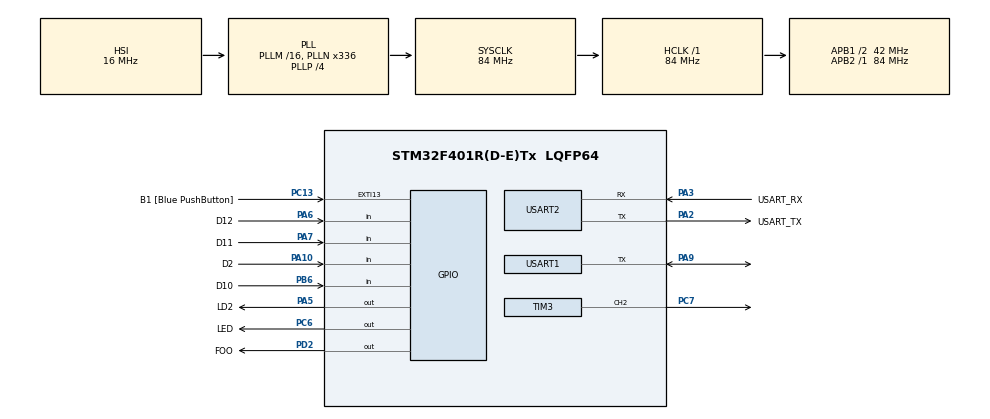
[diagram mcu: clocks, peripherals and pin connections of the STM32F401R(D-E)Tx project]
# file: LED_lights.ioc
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Mcu.Family=STM32F4
Mcu.Name=STM32F401R(D-E)Tx
Mcu.Package=LQFP64
NVIC.PriorityGroup=NVIC_PRIORITYGROUP_0
NVIC.TIM4_IRQn=true\:0\:0\:false\:false\:true\:true\:true
PA10.GPIO_Label=D2
PA10.GPIO_PuPd=GPIO_PULLUP
PA10.Signal=GPIO_Input
PA13.GPIO_Label=TMS
PA13.Mode=Serial_Wire
PA13.Signal=SYS_JTMS-SWDIO
PA14.GPIO_Label=TCK
PA14.Mode=Serial_Wire
PA14.Signal=SYS_JTCK-SWCLK
PA2.GPIO_Label=USART_TX
PA2.GPIO_Mode=GPIO_MODE_AF_PP
PA2.GPIO_PuPd=GPIO_NOPULL
PA2.GPIO_Speed=GPIO_SPEED_FREQ_LOW
PA2.Mode=Asynchronous
PA2.Signal=USART2_TX
PA3.GPIO_Label=USART_RX
PA3.GPIO_Mode=GPIO_MODE_AF_PP
PA3.GPIO_PuPd=GPIO_NOPULL
PA3.GPIO_Speed=GPIO_SPEED_FREQ_LOW
PA3.Mode=Asynchronous
PA3.Signal=USART2_RX
PA5.GPIO_Label=LD2
PA5.GPIO_Mode=GPIO_MODE_OUTPUT_PP
PA5.GPIO_PuPd=GPIO_NOPULL
PA5.GPIO_Speed=GPIO_SPEED_FREQ_LOW
PA5.Signal=GPIO_Output
PA6.GPIO_Label=D12
PA6.GPIO_PuPd=GPIO_PULLUP
PA6.Signal=GPIO_Input
PA7.GPIO_Label=D11
PA7.GPIO_PuPd=GPIO_PULLUP
PA7.Signal=GPIO_Input
PA9.Mode=Half_duplex(single_wire_mode)
PA9.Signal=USART1_TX
PB3.GPIO_Label=SWO
PB3.Signal=SYS_JTDO-SWO
PB6.GPIO_Label=D10
PB6.GPIO_PuPd=GPIO_PULLUP
PB6.Signal=GPIO_Input
PC13-ANTI_TAMP.GPIO_Label=B1 [Blue PushButton]
PC13-ANTI_TAMP.GPIO_ModeDefaultEXTI=GPIO_MODE_IT_FALLING
PC13-ANTI_TAMP.GPIO_PuPd=GPIO_NOPULL
PC13-ANTI_TAMP.Signal=GPXTI13
PC14-OSC32_IN.Mode=LSE-External-Oscillator
PC14-OSC32_IN.Signal=RCC_OSC32_IN
PC15-OSC32_OUT.Mode=LSE-External-Oscillator
PC15-OSC32_OUT.Signal=RCC_OSC32_OUT
PC6.GPIO_Label=LED
PC6.Signal=GPIO_Output
PC7.Signal=S_TIM3_CH2
PD2.GPIO_Label=FOO
PD2.Signal=GPIO_Output
PH0\ -\ OSC_IN.Mode=HSE-External-Clock-Source
PH0\ -\ OSC_IN.Signal=RCC_OSC_IN
PH1\ -\ OSC_OUT.Mode=HSE-External-Clock-Source
PH1\ -\ OSC_OUT.Signal=RCC_OSC_OUT
ProjectManager.HeapSize=0x200
ProjectManager.StackSize=0x400
ProjectManager.TargetToolchain=SW4STM32
RCC.48MHZClocksFreq_Value=48000000
RCC.AHBFreq_Value=84000000
RCC.APB1CLKDivider=RCC_HCLK_DIV2
RCC.APB1Freq_Value=42000000
RCC.APB1TimFreq_Value=84000000
RCC.APB2Freq_Value=84000000
RCC.APB2TimFreq_Value=84000000
RCC.CortexFreq_Value=84000000
RCC.HCLKFreq_Value=84000000
RCC.HSE_VALUE=8000000
RCC.HSI_VALUE=16000000
RCC.PLLN=336
RCC.PLLP=RCC_PLLP_DIV4
RCC.PLLQ=7
RCC.SYSCLKFreq_VALUE=84000000
RCC.SYSCLKSource=RCC_SYSCLKSOURCE_PLLCLK
RCC.VCOOutputFreq_Value=336000000
SH.S_TIM3_CH2.0=TIM3_CH2,PWM Generation2 CH2
TIM3.Channel-PWM\ Generation2\ CH2=TIM_CHANNEL_2
TIM3.OCFastMode_PWM-PWM\ Generation2\ CH2=TIM_OCFAST_DISABLE
TIM3.Period=0xFFF
TIM3.Prescaler=0xFFF
TIM3.Pulse-PWM\ Generation2\ CH2=0
TIM4.Channel-Output\ Compare1\ No\ Output=TIM_CHANNEL_1
TIM4.Period=0xFF
USART1.VirtualMode=VM_ASYNC
USART2.VirtualMode=VM_ASYNC
VP_TIM4_VS_ClockSourceINT.Mode=Internal
VP_TIM4_VS_no_output1.Mode=Output Compare1 No Output
board=NUCLEO-F401RE

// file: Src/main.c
/* USER CODE BEGIN Header */
/**
  ******************************************************************************
  * @file           : main.c
  * @brief          : Main program body
  ******************************************************************************
  * @attention
  *
  * <h2><center>&copy; Copyright (c) 2019 STMicroelectronics.
  * All rights reserved.</center></h2>
  *
  * This software component is licensed by ST under BSD 3-Clause license,
  * the "License"; You may not use this file except in compliance with the
  * License. You may obtain a copy of the License at:
  *                        opensource.org/licenses/BSD-3-Clause
  *
  ******************************************************************************
  */
/* USER CODE END Header */

#include "main.h"
#include "tim.h"
#include "usart.h"
#include "gpio.h"

/* USER CODE BEGIN Includes */
#include "globals.h"
/* USER CODE END Includes */

/* USER CODE BEGIN PV */
/* Private variables ---------------------------------------------------------*/
   uint32_t SyncFrame = 0x3FFF8800;     // 1111111111 1111100010 0000000000
   uint32_t SyncFrameMask = 0x20000000; // 1000000000 0000000000 0000000000

  uint32_t ResetFrame = 0x7FFF4;       // 1111111111 11111 0100
  uint32_t ResetFrameMask = 0x40000;   // 1000000000000000000

  uint32_t DataHeaderFrame = 0x7FFF2;     // 111111111111111 0010
  uint32_t DataHeaderFrameMask = 0x40000; // 100000000000000 0000
  uint32_t DataFrameMask = 0b1000000000000;//0x1000;        // 1000000000000 //the Dataframe size must be +1 the size of the data
  uint32_t DataFilled    = 0b011111111111; //NOTE the first bit MUST be a zero
  uint32_t DataEmpty     = 0b000000000000;
  uint8_t LEDnum = 220;//How many LEDs are in series?
  uint8_t Synctime = 7;// how long is the synctime in (ms)? this is dependent on how many leds you have
  uint16_t Fadenum = 0;//Used in a fading action
  uint16_t Partyspeed = 255; //A added delay (in ms) to the partymode, change this to change how fast it's blinking
  uint8_t volatile Buttons = 0x00;
  const uint16_t colors[24]={
		  0b011111111111,0b000000000000,0b011111111111,0b010111111111,0b011111111111,0b000000000000,0b000000000000,0b000000000000,//R
		  0b000000000000,0b011111111111,0b011111111111,0b001111111111,0b000000000000,0b011111111111,0b000000000000,0b000000000000,//G
		  0b000000000000,0b000000000000,0b000000000000,0b000000000000,0b011111111111,0b011111111111,0b000000000000,0b000000000000};//B
  	  	  //0             1              2             3                4             5				6				7
  	  	  //																								//Number 7 and 6 will never show
  const uint16_t partycolors[12]={
		  0b011111111111,0b000000000000,0b000000000000,0b011111111111,  //Note the first column is a copy of the last
		  0b000000000000,0b000000000000,0b011111111111,0b000000000000,
		  0b000000000000,0b011111111111,0b000000000000,0b000000000000
  };

  const uint8_t lights[361]={
		     0, 0, 0, 0, 0, 1, 1, 2, 2, 3, 4, 5, 6, 7, 8, 9, 11, 12, 13, 15, 17, 18, 20, 22, 24, 26, 28, 30, 32, 35, 37, 39,
		    42, 44, 47, 49, 52, 55, 58, 60, 63, 66, 69, 72, 75, 78, 81, 85, 88, 91, 94, 97, 101, 104, 107, 111, 114, 117, 121, 124, 127, 131, 134, 137,
		   141, 144, 147, 150, 154, 157, 160, 163, 167, 170, 173, 176, 179, 182, 185, 188, 191, 194, 197, 200, 202, 205, 208, 210, 213, 215, 217, 220, 222, 224, 226, 229,
		   231, 232, 234, 236, 238, 239, 241, 242, 244, 245, 246, 248, 249, 250, 251, 251, 252, 253, 253, 254, 254, 255, 255, 255, 255, 255, 255, 255, 254, 254, 253, 253,
		   252, 251, 251, 250, 249, 248, 246, 245, 244, 242, 241, 239, 238, 236, 234, 232, 231, 229, 226, 224, 222, 220, 217, 215, 213, 210, 208, 205, 202, 200, 197, 194,
		   191, 188, 185, 182, 179, 176, 173, 170, 167, 163, 160, 157, 154, 150, 147, 144, 141, 137, 134, 131, 127, 124, 121, 117, 114, 111, 107, 104, 101, 97, 94, 91,
		    88, 85, 81, 78, 75, 72, 69, 66, 63, 60, 58, 55, 52, 49, 47, 44, 42, 39, 37, 35, 32, 30, 28, 26, 24, 22, 20, 18, 17, 15, 13, 12,
		    11, 9, 8, 7, 6, 5, 4, 3, 2, 2, 1, 1, 0, 0, 0, 0, 0, 0, 0, 0, 0, 0, 0, 0, 0, 0, 0, 0, 0, 0, 0, 0,
		     0, 0, 0, 0, 0, 0, 0, 0, 0, 0, 0, 0, 0, 0, 0, 0, 0, 0, 0, 0, 0, 0, 0, 0, 0, 0, 0, 0, 0, 0, 0, 0,
		     0, 0, 0, 0, 0, 0, 0, 0, 0, 0, 0, 0, 0, 0, 0, 0, 0, 0, 0, 0, 0, 0, 0, 0, 0, 0, 0, 0, 0, 0, 0, 0,
		     0, 0, 0, 0, 0, 0, 0, 0, 0, 0, 0, 0, 0, 0, 0, 0, 0, 0, 0, 0, 0, 0, 0, 0, 0, 0, 0, 0, 0, 0, 0, 0, 0, 0, 0, 0, 0, 0, 0, 0, 0};

/* USER CODE END PV */

void SystemClock_Config(void);
/* USER CODE BEGIN PFP */
/* Private function prototypes -----------------------------------------------*/

/* USER CODE END PFP */

/* USER CODE BEGIN 0 */
extern uint8_t NXT_BIT;

 void Bangbang(uint32_t Mask, uint32_t Data){
	 //This function manchesterencodes a datapacket sent to it and tells a timer function
	 //to send bits
 for( uint32_t a = Mask; a > 0; a >>= 1 ){

		  while(NXT_BIT != 0){
		  }
			  if (Data & a)
			  	  NXT_BIT = 1;
			  	  //HAL_GPIO_WritePin(LED_GPIO_Port, LED_Pin, GPIO_PIN_SET);
		  	  else
			  	  NXT_BIT = 2;
			  	  //HAL_GPIO_WritePin(LED_GPIO_Port, LED_Pin, GPIO_PIN_RESET);

		while(NXT_BIT != 0){
		}
			  if ((Data & a)^a)
				  NXT_BIT = 1;
			  	  //HAL_GPIO_WritePin(LED_GPIO_Port, LED_Pin, GPIO_PIN_SET);
			  else
				  NXT_BIT = 2;
			  	  //HAL_GPIO_WritePin(LED_GPIO_Port, LED_Pin, GPIO_PIN_RESET);

 	 	}
 }

 void BangReg(uint32_t Mask, uint32_t Data){
	 //same as BangBang exept it does not enocde
  for( uint32_t a = Mask; a > 0; a >>= 1 ){

 		  while(NXT_BIT != 0){
 		  }
 			  if (Data & a)
 			  	  NXT_BIT = 1;
 			  	  //HAL_GPIO_WritePin(LED_GPIO_Port, LED_Pin, GPIO_PIN_SET);
 		  	  else
 			  	  NXT_BIT = 2;
 			  	  //HAL_GPIO_WritePin(LED_GPIO_Port, LED_Pin, GPIO_PIN_RESET);

  }
}

 void Sync(uint8_t time){//Syncs LEDs
	 Bangbang(ResetFrameMask,ResetFrame);
	 //Sends a resetframe to the LEDs, this must be done after each poweron cycle or just random times
	 HAL_Delay(1);
	 Bangbang(SyncFrameMask,SyncFrame);
	 //Tells the LEDs what position in the order they are, Technically not needed this often
	 HAL_Delay(time); //A delay dependent on the number of LEDs in series, the frame must propagate though the entire chain

 }

 void SendColor(uint32_t Red,uint32_t Green,uint32_t Blue){ //accepts red,green,blue
	 //MUST be preceeded with a "Bangbang(DataHeaderFrameMask,DataHeaderFrame);"
	 //in a series of databytes
	 Bangbang(DataFrameMask,Red);
	 Bangbang(DataFrameMask,Green);
	 Bangbang(DataFrameMask,Blue);
 }

/* USER CODE END 0 */

int main(void)
{

  /* MCU Configuration--------------------------------------------------------*/

  /* Reset of all peripherals, Initializes the Flash interface and the Systick. */
  HAL_Init();

  /* Configure the system clock */
  SystemClock_Config();

  /* Initialize all configured peripherals */
  MX_GPIO_Init();
  MX_USART2_UART_Init();
  MX_USART1_UART_Init();
  MX_TIM4_Init();
  MX_TIM3_Init();
  /* USER CODE BEGIN 2 */

  HAL_TIM_Base_Start_IT(&htim4);
  /* USER CODE END 2 */

  /* Infinite loop */
  /* USER CODE BEGIN WHILE */

  while (1)
  {
	  uint16_t partystage;//Used in partymode
	  //PLEACE NOTE 'Buttons' is erased after each itteration hence
	  switch(HAL_GPIO_ReadPin(D11_GPIO_Port,D11_Pin)){
	  case GPIO_PIN_SET:
		  Buttons =0x00;
		  break;

	  case GPIO_PIN_RESET:
		  Buttons =0x01;
		  break;
	  default:
		  break;
	  }
	  switch(HAL_GPIO_ReadPin(D10_GPIO_Port,D10_Pin)){

	  	  case GPIO_PIN_SET:
	  		Buttons =(Buttons | 0b00000010);
	  		  break;
	  	  default:
	  		  break;
	  	  }
	  switch(HAL_GPIO_ReadPin(D12_GPIO_Port,D12_Pin)){
	  	  	  case GPIO_PIN_SET:
	  	  		Buttons =(Buttons | 0b00000100);
	  	  		  break;
	  	  	  default:
	  	  		  break;
	  	  	  }

	  if(!HAL_GPIO_ReadPin(D2_GPIO_Port,D2_Pin)){//D2 is the "send" switch
		  HAL_GPIO_WritePin(LD2_GPIO_Port,LD2_Pin,GPIO_PIN_SET);

		  //CORE CODE
		  if(Buttons==0b00000111){//Party mode

		  			  for (int partystage=0; partystage<3; partystage++){
		  			  				  Sync(Synctime);

		  			  				  Bangbang(DataHeaderFrameMask,DataHeaderFrame); //Tells the LEDs that data is comming, also toggles the color of the LEDs
		  			  				  for(int i = 0; i < LEDnum/2; i++){ //One package in series for each LED
		  			  				  SendColor(partycolors[partystage],partycolors[partystage+4],partycolors[partystage+8]);
		  			  				  SendColor(partycolors[partystage+1],partycolors[partystage+5],partycolors[partystage+9]);
		  			  				  }

		  			  				  HAL_Delay(1);
		  			  				  Bangbang(DataHeaderFrameMask,DataHeaderFrame); //applies the color of the LEDs
		  			  				  //no data is sent but that is ok, the LEDs hate you anyway
		  			  				  HAL_Delay(Partyspeed);
		  			  }
		  		partystage= (partystage+1)%3;

		  }else if(Buttons==0b00000110){

			  Sync(Synctime);
			  Bangbang(DataHeaderFrameMask,DataHeaderFrame); //Tells the LEDs that data is comming, also toggles the color of the LEDs
			  for(int i = 0; i < LEDnum; i++){
				  SendColor(lights[Fadenum%360],lights[(Fadenum+120)%360],lights[(Fadenum)%360]);

			  }
			  Fadenum = (Fadenum+1)%360;
			  HAL_Delay(1);
			  Bangbang(DataHeaderFrameMask,DataHeaderFrame); //applies the color of the LEDs
			  //no data is sent but that is ok, the LEDs hate you anyway
			  HAL_Delay(10);

	  	  }else{

			  for (int q=0; q<1; q++){//If you want to send a header multiple times, might help if the leds blinks alot
				  Sync(Synctime);//The synctime is dependent on how maby leds you have

				  Bangbang(DataHeaderFrameMask,DataHeaderFrame); //Tells the LEDs that data is comming, also toggles the color of the LEDs
				  for(int i = 0; i < LEDnum; i++) //One package in series for each LED
				  SendColor(colors[Buttons],colors[Buttons+8],colors[Buttons+16]); //Color-data

				  HAL_Delay(1);
				  Bangbang(DataHeaderFrameMask,DataHeaderFrame); //applies the color of the LEDs
				  //no data is sent but that is ok
				  HAL_Delay(20);
			  }
		  }
	  }
//Core code done

	  HAL_GPIO_WritePin(LD2_GPIO_Port,LD2_Pin,GPIO_PIN_RESET); //Debug, the onboard LED shows if it is sending

    /* USER CODE END WHILE */

}
}

void SystemClock_Config(void)
{
  RCC_OscInitTypeDef RCC_OscInitStruct = {0};
  RCC_ClkInitTypeDef RCC_ClkInitStruct = {0};

  /** Configure the main internal regulator output voltage
  */
  __HAL_RCC_PWR_CLK_ENABLE();
  __HAL_PWR_VOLTAGESCALING_CONFIG(PWR_REGULATOR_VOLTAGE_SCALE2);
  /** Initializes the CPU, AHB and APB busses clocks
  */
  RCC_OscInitStruct.OscillatorType = RCC_OSCILLATORTYPE_HSI;
  RCC_OscInitStruct.HSIState = RCC_HSI_ON;
  RCC_OscInitStruct.HSICalibrationValue = RCC_HSICALIBRATION_DEFAULT;
  RCC_OscInitStruct.PLL.PLLState = RCC_PLL_ON;
  RCC_OscInitStruct.PLL.PLLSource = RCC_PLLSOURCE_HSI;
  RCC_OscInitStruct.PLL.PLLM = 16;
  RCC_OscInitStruct.PLL.PLLN = 336;
  RCC_OscInitStruct.PLL.PLLP = RCC_PLLP_DIV4;
  RCC_OscInitStruct.PLL.PLLQ = 7;
  if (HAL_RCC_OscConfig(&RCC_OscInitStruct) != HAL_OK)
  {
    Error_Handler();
  }
  /** Initializes the CPU, AHB and APB busses clocks
  */
  RCC_ClkInitStruct.ClockType = RCC_CLOCKTYPE_HCLK|RCC_CLOCKTYPE_SYSCLK
                              |RCC_CLOCKTYPE_PCLK1|RCC_CLOCKTYPE_PCLK2;
  RCC_ClkInitStruct.SYSCLKSource = RCC_SYSCLKSOURCE_PLLCLK;
  RCC_ClkInitStruct.AHBCLKDivider = RCC_SYSCLK_DIV1;
  RCC_ClkInitStruct.APB1CLKDivider = RCC_HCLK_DIV2;
  RCC_ClkInitStruct.APB2CLKDivider = RCC_HCLK_DIV1;

  if (HAL_RCC_ClockConfig(&RCC_ClkInitStruct, FLASH_LATENCY_2) != HAL_OK)
  {
    Error_Handler();
  }
}

void Error_Handler(void)
{
  while(1)
  {
  }
}

/************************ (C) COPYRIGHT STMicroelectronics *****END OF FILE****/
